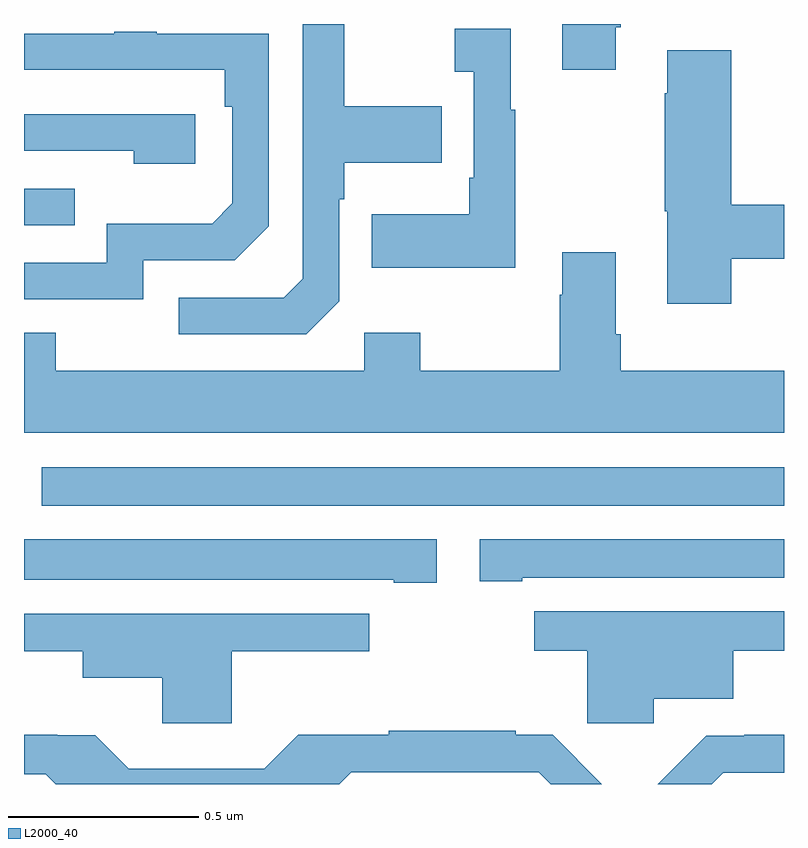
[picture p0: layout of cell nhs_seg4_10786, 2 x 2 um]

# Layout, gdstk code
import gdstk
lib = gdstk.Library(unit=1e-6, precision=1e-09)
def R(c, l, rs):  # rectangles x0, y0, x1, y1
    for r in rs: c.add(gdstk.rectangle(r[:2], r[2:], *l))
def P(c, l, *ps):  # polygons
    for p in ps: c.add(gdstk.Polygon(p, *l))
L2000_40 = (2000, 40)

nhs_seg4_10786 = lib.new_cell('nhs_seg4_10786')
R(nhs_seg4_10786, L2000_40, [(244.047,792.632,246,792.733), (244,793.371,244.133,793.467)])
P(nhs_seg4_10786, L2000_40, [(245.557,793.891),(245.57,793.891),(245.57,793.9),(245.417,793.9),(245.417,793.779),(245.557,793.779)],
  [(244.83,793.17),(244.83,793.439),(244.843,793.439),(244.843,793.535),(245.099,793.535),(245.099,793.683),(244.843,793.683),(244.843,793.9),(244.734,793.9),(244.734,793.23),(244.683,793.179),(244.407,793.179),(244.407,793.083),(244.743,793.083)],
  [(245.293,793.675),(245.281,793.675),(245.281,793.888),(245.133,793.888),(245.133,793.775),(245.184,793.775),(245.184,793.495),(245.172,793.495),(245.172,793.399),(244.915,793.399),(244.915,793.259),(245.293,793.259)],
  [(244.314,793.278),(244.554,793.278),(244.644,793.368),(244.644,793.875),(244.349,793.875),(244.349,793.88),(244.237,793.88),(244.237,793.875),(244,793.875),(244,793.779),(244.528,793.779),(244.528,793.682),(244.548,793.682),(244.548,793.428),(244.495,793.375),(244.218,793.375),(244.218,793.272),(244,793.272),(244,793.176),(244.314,793.176)],
  [(245.861,793.282),(246,793.282),(246,793.424),(245.861,793.424),(245.861,793.831),(245.693,793.831),(245.693,793.718),(245.686,793.718),(245.686,793.407),(245.693,793.407),(245.693,793.164),(245.861,793.164)],
  [(244.45,793.662),(244,793.662),(244,793.566),(244.289,793.566),(244.289,793.532),(244.45,793.532)],
  [(246,792.988),(245.57,792.988),(245.57,793.084),(245.557,793.084),(245.557,793.3),(245.417,793.3),(245.417,793.187),(245.41,793.187),(245.41,792.988),(245.043,792.988),(245.043,793.087),(244.896,793.087),(244.896,792.988),(244.083,792.988),(244.083,793.087),(244,793.087),(244,792.824),(246,792.824)],
  [(245.086,792.544),(244,792.544),(244,792.437),(244.973,792.437),(244.973,792.43),(245.086,792.43)],
  [(245.311,792.443),(246,792.443),(246,792.544),(245.199,792.544),(245.199,792.433),(245.311,792.433)],
  [(245.657,792.125),(245.866,792.125),(245.866,792.251),(246,792.251),(246,792.355),(245.343,792.355),(245.343,792.251),(245.482,792.251),(245.482,792.06),(245.657,792.06)],
  [(244.547,792.25),(244.909,792.25),(244.909,792.348),(244,792.348),(244,792.25),(244.154,792.25),(244.154,792.179),(244.364,792.179),(244.364,792.06),(244.547,792.06)],
  [(244.861,791.931),(245.355,791.931),(245.386,791.9),(245.521,791.9),(245.392,792.03),(245.294,792.03),(245.294,792.04),(244.96,792.04),(244.96,792.03),(244.722,792.03),(244.632,791.94),(244.276,791.94),(244.188,792.028),(244.088,792.028),(244.088,792.03),(244,792.03),(244,791.926),(244.057,791.926),(244.083,791.9),(244.83,791.9)],
  [(245.84,791.93),(246,791.93),(246,792.03),(245.896,792.03),(245.896,792.027),(245.795,792.027),(245.668,791.9),(245.81,791.9)])

lib.write_gds('nhs_seg4_10786.gds')
